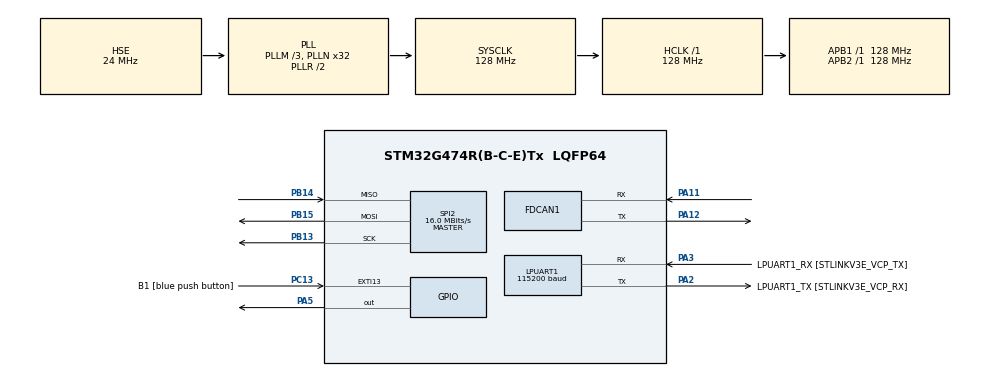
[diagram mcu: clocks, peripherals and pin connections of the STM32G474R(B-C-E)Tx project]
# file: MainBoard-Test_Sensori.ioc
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FATFS.DISKIO_CODE=0
FATFS._MAX_SS=4096
FDCAN1.ClockDivider=FDCAN_CLOCK_DIV2
FDCAN1.NominalPrescaler=5
FDCAN1.NominalTimeSeg1=13
LPUART1.BaudRate=115200
LPUART1.WordLength=UART_WORDLENGTH_8B
Mcu.Family=STM32G4
Mcu.Name=STM32G474R(B-C-E)Tx
Mcu.Package=LQFP64
NVIC.EXTI15_10_IRQn=true\:0\:0\:false\:true\:true\:2\:true\:true
NVIC.FDCAN1_IT0_IRQn=true\:0\:0\:false\:true\:true\:1\:true\:true
NVIC.PriorityGroup=NVIC_PRIORITYGROUP_4
NVIC.TIM1_TRG_COM_TIM17_IRQn=true\:0\:0\:false\:true\:true\:3\:true\:true
PA11.Mode=FDCANMaster
PA11.Signal=FDCAN1_RX
PA12.Mode=FDCANMaster
PA12.Signal=FDCAN1_TX
PA13.GPIO_Label=T_SWDIO
PA13.Mode=Serial_Wire
PA13.Signal=SYS_JTMS-SWDIO
PA14.GPIO_Label=T_SWCLK
PA14.Mode=Serial_Wire
PA14.Signal=SYS_JTCK-SWCLK
PA2.GPIO_Label=LPUART1_TX [STLINKV3E_VCP_RX]
PA2.Mode=Asynchronous
PA2.Signal=LPUART1_TX
PA3.GPIO_Label=LPUART1_RX [STLINKV3E_VCP_TX]
PA3.Mode=Asynchronous
PA3.Signal=LPUART1_RX
PA5.Signal=GPIO_Output
PB13.Mode=Full_Duplex_Master
PB13.Signal=SPI2_SCK
PB14.Mode=Full_Duplex_Master
PB14.Signal=SPI2_MISO
PB15.Mode=Full_Duplex_Master
PB15.Signal=SPI2_MOSI
PB3.GPIO_Label=T_SWO
PB3.Signal=SYS_JTDO-SWO
PC13.GPIO_Label=B1 [blue push button]
PC13.Signal=GPXTI13
PC14-OSC32_IN.Mode=LSE-External-Oscillator
PC14-OSC32_IN.Signal=RCC_OSC32_IN
PC15-OSC32_OUT.Mode=LSE-External-Oscillator
PC15-OSC32_OUT.Signal=RCC_OSC32_OUT
PF0-OSC_IN.Mode=HSE-External-Oscillator
PF0-OSC_IN.Signal=RCC_OSC_IN
PF1-OSC_OUT.Mode=HSE-External-Oscillator
PF1-OSC_OUT.Signal=RCC_OSC_OUT
ProjectManager.HeapSize=0x200
ProjectManager.StackSize=0x400
ProjectManager.TargetToolchain=STM32CubeIDE
RCC.ADC12Freq_Value=128000000
RCC.ADC345Freq_Value=128000000
RCC.AHBFreq_Value=128000000
RCC.APB1Freq_Value=128000000
RCC.APB1TimFreq_Value=128000000
RCC.APB2Freq_Value=128000000
RCC.APB2TimFreq_Value=128000000
RCC.CortexFreq_Value=128000000
RCC.EXTERNAL_CLOCK_VALUE=12288000
RCC.HCLKFreq_Value=128000000
RCC.HSE_VALUE=24000000
RCC.HSI48_VALUE=48000000
RCC.HSI_VALUE=16000000
RCC.PLLM=RCC_PLLM_DIV3
RCC.PLLN=32
RCC.PLLQ=RCC_PLLQ_DIV6
RCC.PLLSourceVirtual=RCC_PLLSOURCE_HSE
RCC.RTCClockSelection=RCC_RTCCLKSOURCE_LSE
RCC.SYSCLKFreq_VALUE=128000000
RCC.SYSCLKSource=RCC_SYSCLKSOURCE_PLLCLK
RCC.USBFreq_Value=42666666.666666664
RCC.VCOOutputFreq_Value=256000000
SPI2.BaudRatePrescaler=SPI_BAUDRATEPRESCALER_8
SPI2.CLKPhase=SPI_PHASE_2EDGE
SPI2.CLKPolarity=SPI_POLARITY_HIGH
SPI2.CalculateBaudRate=16.0 MBits/s
SPI2.DataSize=SPI_DATASIZE_8BIT
SPI2.Direction=SPI_DIRECTION_2LINES
SPI2.Mode=SPI_MODE_MASTER
SPI2.VirtualType=VM_MASTER
TIM17.AutoReloadPreload=TIM_AUTORELOAD_PRELOAD_ENABLE
TIM17.PeriodNoDither=25
TIM17.Prescaler=12799
VP_FATFS_VS_Generic.Mode=User_defined
VP_RTC_VS_RTC_Activate.Mode=RTC_Enabled
VP_RTC_VS_RTC_Calendar.Mode=RTC_Calendar
VP_SYS_VS_DBSignals.Mode=DisableDeadBatterySignals
VP_TIM17_VS_ClockSourceINT.Mode=Enable_Timer
board=NUCLEO-G474RE

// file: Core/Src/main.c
/* USER CODE BEGIN Header */
/**
  ******************************************************************************
  * @file           : main.c
  * @brief          : Main program body
  ******************************************************************************
  * @attention
  *
  * <h2><center>&copy; Copyright (c) 2020 STMicroelectronics.
  * All rights reserved.</center></h2>
  *
  * This software component is licensed by ST under BSD 3-Clause license,
  * the "License"; You may not use this file except in compliance with the
  * License. You may obtain a copy of the License at:
  *                        opensource.org/licenses/BSD-3-Clause
  *
  ******************************************************************************
  */
/* USER CODE END Header */

#include "main.h"
#include "app_fatfs.h"

/* USER CODE BEGIN Includes */
#include "Sigma2_Def.h"
#define N 64
/* USER CODE END Includes */

/* USER CODE BEGIN PTD */
typedef union{
	uint8_t		Data8u[8];
	uint16_t	Data16u[4];
	int16_t		Data16[4];
}data_typedef;
/* USER CODE END PTD */

FDCAN_HandleTypeDef hfdcan1;

UART_HandleTypeDef hlpuart1;

RTC_HandleTypeDef hrtc;

SPI_HandleTypeDef hspi2;

TIM_HandleTypeDef htim17;

/* USER CODE BEGIN PV */

FRESULT SD_Write();
const char* getfield(char* , int32_t);
FRESULT leggi();
int32_t ProcessStatus = 0;
uint8_t ubKeyNumber = 0x0;
FDCAN_RxHeaderTypeDef RxHeader;
uint8_t RxData[8];
data_typedef rxData;
char buffer[100];
FDCAN_TxHeaderTypeDef TxHeader;
uint8_t TxData[8];
uint32_t id;
uint8_t DataSpi[8];
uint8_t readBuff[64];
uint8_t br;
int32_t curr;
int32_t copp;
uint32_t indice =0;
uint32_t time;

uint8_t flag = 0;
uint8_t Time[3];
uint8_t Date[3];
RTC_TimeTypeDef stimeststuctureget;
RTC_DateTypeDef Data;

struct{
	int16_t Temp_0;
	int16_t Temp_1;
	int16_t Temp_2;
	int16_t Temp_3;
	int16_t Temp_4;
	int16_t Temp_5;
	int16_t Temp_6;
	int16_t Temp_7;
	int16_t Temp_8;
	int16_t Temp_9;
}Temp;
struct{
	int16_t Acc_x;
	int16_t Acc_y;
	int16_t Acc_z;
	int16_t Gir_x;
	int16_t Gir_y;
	int16_t T_a;
	int16_t T_g;
	int16_t T_b;
	uint32_t Pres;
	uint16_t Hum;
	uint16_t Responce_Time_millis;
	uint32_t Timer;
	uint8_t ID;
}Dati;
uint32_t ID = 0x00;
FIL readFile,writeFile;

extern FIL USERFile;
extern FATFS USERFatFs;
extern char USERPath[4];
SD_CardInfo_t CardInfo;

/* USER CODE END PV */

void SystemClock_Config(void);
static void MX_GPIO_Init(void);
static void MX_LPUART1_UART_Init(void);
static void MX_SPI2_Init(void);
static void MX_FDCAN1_Init(void);
static void MX_RTC_Init(void);
static void MX_TIM17_Init(void);
static void MX_NVIC_Init(void);
/* USER CODE BEGIN PFP */
void Success_Handler(void);
void readSigmaData(void);
/* USER CODE END PFP */

int main(void)
{

  /* MCU Configuration--------------------------------------------------------*/

  /* Reset of all peripherals, Initializes the Flash interface and the Systick. */
  HAL_Init();

  /* Configure the system clock */
  SystemClock_Config();

  /* USER CODE BEGIN SysInit */

  /* Initialize the micro SD Card */
  if(MY_SD_Init(0) != BSP_ERROR_NONE){
	  Error_Handler();
  }
  /* USER CODE END SysInit */

  /* Initialize all configured peripherals */
  MX_GPIO_Init();
  MX_LPUART1_UART_Init();
  MX_SPI2_Init();
  if (MX_FATFS_Init() != APP_OK) {
    Error_Handler();
  }
  MX_FDCAN1_Init();
  MX_RTC_Init();
  MX_TIM17_Init();

  /* Initialize interrupts */
  MX_NVIC_Init();
  /* USER CODE BEGIN 2 */
  TxHeader.Identifier = 0x0;
  TxHeader.IdType = FDCAN_EXTENDED_ID;
  TxHeader.TxFrameType = FDCAN_DATA_FRAME;
  TxHeader.DataLength = FDCAN_DLC_BYTES_8;
  TxHeader.ErrorStateIndicator = FDCAN_ESI_ACTIVE;
  TxHeader.BitRateSwitch = FDCAN_BRS_OFF;
  TxHeader.FDFormat = FDCAN_CLASSIC_CAN;
  TxHeader.TxEventFifoControl = FDCAN_NO_TX_EVENTS;
  TxHeader.MessageMarker = 0;
  TxData[0] = ubKeyNumber++;
  TxData[1] = 0xAD;
  TxData[2] = 0xDE;
  TxData[3] = 0xAD;
  TxData[4] = 0xBE;
  TxData[5] = 0xEF;
  TxData[6] = 0xFA;
  TxData[7] = 0xCE;

  uint8_t workBuffer[_MAX_SS];

  /* File  object for USER */
  //char USERPath[4];   /* USER logical drive path */
  FRESULT res; /* FatFs function common result code */
  uint8_t path[] = "DATA_LOG.TXT";

  if(MY_SD_GetCardState(0) == BSP_ERROR_NONE){
	  MY_SD_GetCardInfo(0, &CardInfo);
	  if(HAL_GPIO_ReadPin(B1_GPIO_Port,B1_Pin)==GPIO_PIN_SET){
		  HAL_GPIO_WritePin(GPIOA, GPIO_PIN_5, GPIO_PIN_SET);
		  res = f_mkfs(USERPath, FM_FAT32, 2048, workBuffer, sizeof(workBuffer));
		  if (res != FR_OK){
			  Error_Handler();
		  }
		  HAL_GPIO_WritePin(GPIOA, GPIO_PIN_5, GPIO_PIN_RESET);
		  HAL_Delay(2000);
	  }
  }
  res = f_mount(&USERFatFs, USERPath, 1);
  res = f_open(&USERFile, &path, FA_CREATE_ALWAYS);
  res = f_close(&USERFile);
  res = f_open(&USERFile, &path, FA_OPEN_APPEND | FA_WRITE);

  if (HAL_FDCAN_Start(&hfdcan1) != HAL_OK){
	  /* Start Error */
	  Error_Handler();
  }

  if ( HAL_FDCAN_ActivateNotification(&hfdcan1, FDCAN_IT_RX_FIFO0_NEW_MESSAGE, 0) != HAL_OK){
	  /* Notification Error */
	  Error_Handler();
  }

  MX_NVIC_Init();
  HAL_TIM_Base_Start_IT(&htim17);

  /* USER CODE END 2 */

  /* Infinite loop */
  while (1){

  }
}

void SystemClock_Config(void)
{
  RCC_OscInitTypeDef RCC_OscInitStruct = {0};
  RCC_ClkInitTypeDef RCC_ClkInitStruct = {0};
  RCC_PeriphCLKInitTypeDef PeriphClkInit = {0};

  /** Configure the main internal regulator output voltage
  */
  HAL_PWREx_ControlVoltageScaling(PWR_REGULATOR_VOLTAGE_SCALE1);
  /** Configure LSE Drive Capability
  */
  HAL_PWR_EnableBkUpAccess();
  __HAL_RCC_LSEDRIVE_CONFIG(RCC_LSEDRIVE_LOW);
  /** Initializes the CPU, AHB and APB busses clocks
  */
  RCC_OscInitStruct.OscillatorType = RCC_OSCILLATORTYPE_HSE|RCC_OSCILLATORTYPE_LSE;
  RCC_OscInitStruct.HSEState = RCC_HSE_ON;
  RCC_OscInitStruct.LSEState = RCC_LSE_ON;
  RCC_OscInitStruct.PLL.PLLState = RCC_PLL_ON;
  RCC_OscInitStruct.PLL.PLLSource = RCC_PLLSOURCE_HSE;
  RCC_OscInitStruct.PLL.PLLM = RCC_PLLM_DIV3;
  RCC_OscInitStruct.PLL.PLLN = 32;
  RCC_OscInitStruct.PLL.PLLP = RCC_PLLP_DIV2;
  RCC_OscInitStruct.PLL.PLLQ = RCC_PLLQ_DIV6;
  RCC_OscInitStruct.PLL.PLLR = RCC_PLLR_DIV2;
  if (HAL_RCC_OscConfig(&RCC_OscInitStruct) != HAL_OK)
  {
    Error_Handler();
  }
  /** Initializes the CPU, AHB and APB busses clocks
  */
  RCC_ClkInitStruct.ClockType = RCC_CLOCKTYPE_HCLK|RCC_CLOCKTYPE_SYSCLK
                              |RCC_CLOCKTYPE_PCLK1|RCC_CLOCKTYPE_PCLK2;
  RCC_ClkInitStruct.SYSCLKSource = RCC_SYSCLKSOURCE_PLLCLK;
  RCC_ClkInitStruct.AHBCLKDivider = RCC_SYSCLK_DIV1;
  RCC_ClkInitStruct.APB1CLKDivider = RCC_HCLK_DIV1;
  RCC_ClkInitStruct.APB2CLKDivider = RCC_HCLK_DIV1;

  if (HAL_RCC_ClockConfig(&RCC_ClkInitStruct, FLASH_LATENCY_6) != HAL_OK)
  {
    Error_Handler();
  }
  /** Initializes the peripherals clocks
  */
  PeriphClkInit.PeriphClockSelection = RCC_PERIPHCLK_RTC|RCC_PERIPHCLK_LPUART1
                              |RCC_PERIPHCLK_FDCAN;
  PeriphClkInit.Lpuart1ClockSelection = RCC_LPUART1CLKSOURCE_PCLK1;
  PeriphClkInit.FdcanClockSelection = RCC_FDCANCLKSOURCE_PCLK1;
  PeriphClkInit.RTCClockSelection = RCC_RTCCLKSOURCE_LSE;
  if (HAL_RCCEx_PeriphCLKConfig(&PeriphClkInit) != HAL_OK)
  {
    Error_Handler();
  }
}

/**
  * @brief NVIC Configuration.
  * @retval None
  */
static void MX_NVIC_Init(void)
{
  /* FDCAN1_IT0_IRQn interrupt configuration */
  HAL_NVIC_SetPriority(FDCAN1_IT0_IRQn, 0, 0);
  HAL_NVIC_EnableIRQ(FDCAN1_IT0_IRQn);
  /* EXTI15_10_IRQn interrupt configuration */
  HAL_NVIC_SetPriority(EXTI15_10_IRQn, 0, 0);
  HAL_NVIC_EnableIRQ(EXTI15_10_IRQn);
  /* TIM1_TRG_COM_TIM17_IRQn interrupt configuration */
  HAL_NVIC_SetPriority(TIM1_TRG_COM_TIM17_IRQn, 0, 0);
  HAL_NVIC_EnableIRQ(TIM1_TRG_COM_TIM17_IRQn);
}

static void MX_FDCAN1_Init(void)
{

  hfdcan1.Instance = FDCAN1;
  hfdcan1.Init.ClockDivider = FDCAN_CLOCK_DIV2;
  hfdcan1.Init.FrameFormat = FDCAN_FRAME_CLASSIC;
  hfdcan1.Init.Mode = FDCAN_MODE_NORMAL;
  hfdcan1.Init.AutoRetransmission = DISABLE;
  hfdcan1.Init.TransmitPause = DISABLE;
  hfdcan1.Init.ProtocolException = DISABLE;
  hfdcan1.Init.NominalPrescaler = 5;
  hfdcan1.Init.NominalSyncJumpWidth = 1;
  hfdcan1.Init.NominalTimeSeg1 = 13;
  hfdcan1.Init.NominalTimeSeg2 = 2;
  hfdcan1.Init.DataPrescaler = 1;
  hfdcan1.Init.DataSyncJumpWidth = 1;
  hfdcan1.Init.DataTimeSeg1 = 1;
  hfdcan1.Init.DataTimeSeg2 = 1;
  hfdcan1.Init.StdFiltersNbr = 0;
  hfdcan1.Init.ExtFiltersNbr = 0;
  hfdcan1.Init.TxFifoQueueMode = FDCAN_TX_FIFO_OPERATION;
  if (HAL_FDCAN_Init(&hfdcan1) != HAL_OK)
  {
    Error_Handler();
  }

}

static void MX_LPUART1_UART_Init(void)
{

  hlpuart1.Instance = LPUART1;
  hlpuart1.Init.BaudRate = 115200;
  hlpuart1.Init.WordLength = UART_WORDLENGTH_8B;
  hlpuart1.Init.StopBits = UART_STOPBITS_1;
  hlpuart1.Init.Parity = UART_PARITY_NONE;
  hlpuart1.Init.Mode = UART_MODE_TX_RX;
  hlpuart1.Init.HwFlowCtl = UART_HWCONTROL_NONE;
  hlpuart1.Init.OneBitSampling = UART_ONE_BIT_SAMPLE_DISABLE;
  hlpuart1.AdvancedInit.AdvFeatureInit = UART_ADVFEATURE_NO_INIT;
  if (HAL_UART_Init(&hlpuart1) != HAL_OK)
  {
    Error_Handler();
  }
  if (HAL_UARTEx_SetTxFifoThreshold(&hlpuart1, UART_TXFIFO_THRESHOLD_1_8) != HAL_OK)
  {
    Error_Handler();
  }
  if (HAL_UARTEx_SetRxFifoThreshold(&hlpuart1, UART_RXFIFO_THRESHOLD_1_8) != HAL_OK)
  {
    Error_Handler();
  }
  if (HAL_UARTEx_DisableFifoMode(&hlpuart1) != HAL_OK)
  {
    Error_Handler();
  }

}

static void MX_RTC_Init(void)
{

  RTC_TimeTypeDef sTime = {0};
  RTC_DateTypeDef sDate = {0};

  /** Initialize RTC Only
  */
  hrtc.Instance = RTC;
  hrtc.Init.HourFormat = RTC_HOURFORMAT_24;
  hrtc.Init.AsynchPrediv = 127;
  hrtc.Init.SynchPrediv = 255;
  hrtc.Init.OutPut = RTC_OUTPUT_DISABLE;
  hrtc.Init.OutPutRemap = RTC_OUTPUT_REMAP_NONE;
  hrtc.Init.OutPutPullUp = RTC_OUTPUT_PULLUP_NONE;
  if (HAL_RTC_Init(&hrtc) != HAL_OK)
  {
    Error_Handler();
  }

  /** Initialize RTC and set the Time and Date
  */
  sTime.Hours = 0x0;
  sTime.Minutes = 0x0;
  sTime.Seconds = 0x0;
  sTime.SubSeconds = 0x0;
  sTime.DayLightSaving = RTC_DAYLIGHTSAVING_NONE;
  sTime.StoreOperation = RTC_STOREOPERATION_RESET;
  if (HAL_RTC_SetTime(&hrtc, &sTime, RTC_FORMAT_BCD) != HAL_OK)
  {
    Error_Handler();
  }
  sDate.WeekDay = RTC_WEEKDAY_MONDAY;
  sDate.Month = RTC_MONTH_JANUARY;
  sDate.Date = 0x1;
  sDate.Year = 0x0;

  if (HAL_RTC_SetDate(&hrtc, &sDate, RTC_FORMAT_BCD) != HAL_OK)
  {
    Error_Handler();
  }

}

static void MX_SPI2_Init(void)
{

  /* SPI2 parameter configuration*/
  hspi2.Instance = SPI2;
  hspi2.Init.Mode = SPI_MODE_MASTER;
  hspi2.Init.Direction = SPI_DIRECTION_2LINES;
  hspi2.Init.DataSize = SPI_DATASIZE_8BIT;
  hspi2.Init.CLKPolarity = SPI_POLARITY_HIGH;
  hspi2.Init.CLKPhase = SPI_PHASE_2EDGE;
  hspi2.Init.NSS = SPI_NSS_SOFT;
  hspi2.Init.BaudRatePrescaler = SPI_BAUDRATEPRESCALER_8;
  hspi2.Init.FirstBit = SPI_FIRSTBIT_MSB;
  hspi2.Init.TIMode = SPI_TIMODE_DISABLE;
  hspi2.Init.CRCCalculation = SPI_CRCCALCULATION_DISABLE;
  hspi2.Init.CRCPolynomial = 7;
  hspi2.Init.CRCLength = SPI_CRC_LENGTH_DATASIZE;
  hspi2.Init.NSSPMode = SPI_NSS_PULSE_DISABLE;
  if (HAL_SPI_Init(&hspi2) != HAL_OK)
  {
    Error_Handler();
  }

}

static void MX_TIM17_Init(void)
{

  htim17.Instance = TIM17;
  htim17.Init.Prescaler = 12799;
  htim17.Init.CounterMode = TIM_COUNTERMODE_UP;
  htim17.Init.Period = 25;
  htim17.Init.ClockDivision = TIM_CLOCKDIVISION_DIV1;
  htim17.Init.RepetitionCounter = 0;
  htim17.Init.AutoReloadPreload = TIM_AUTORELOAD_PRELOAD_ENABLE;
  if (HAL_TIM_Base_Init(&htim17) != HAL_OK)
  {
    Error_Handler();
  }

}

static void MX_GPIO_Init(void)
{
  GPIO_InitTypeDef GPIO_InitStruct = {0};

  /* GPIO Ports Clock Enable */
  __HAL_RCC_GPIOC_CLK_ENABLE();
  __HAL_RCC_GPIOF_CLK_ENABLE();
  __HAL_RCC_GPIOA_CLK_ENABLE();
  __HAL_RCC_GPIOB_CLK_ENABLE();

  /*Configure GPIO pin Output Level */
  HAL_GPIO_WritePin(GPIOA, GPIO_PIN_5, GPIO_PIN_RESET);

  /*Configure GPIO pin : B1_Pin */
  GPIO_InitStruct.Pin = B1_Pin;
  GPIO_InitStruct.Mode = GPIO_MODE_IT_RISING;
  GPIO_InitStruct.Pull = GPIO_NOPULL;
  HAL_GPIO_Init(B1_GPIO_Port, &GPIO_InitStruct);

  /*Configure GPIO pin : PA5 */
  GPIO_InitStruct.Pin = GPIO_PIN_5;
  GPIO_InitStruct.Mode = GPIO_MODE_OUTPUT_PP;
  GPIO_InitStruct.Pull = GPIO_NOPULL;
  GPIO_InitStruct.Speed = GPIO_SPEED_FREQ_LOW;
  HAL_GPIO_Init(GPIOA, &GPIO_InitStruct);

}

/* USER CODE BEGIN 4 */

void HAL_FDCAN_RxFifo0Callback(FDCAN_HandleTypeDef*hcan, uint32_t RxFifo0ITs){
	if(HAL_FDCAN_GetRxMessage(&hfdcan1,FDCAN_RX_FIFO0,&RxHeader,rxData.Data8u) == HAL_OK){
		if((RxHeader.Identifier>>5) == 0x00){
			Dati.ID = (uint8_t)RxHeader.Identifier;
			Dati.Timer = rxData.Data8u[0] | rxData.Data8u[1]<<8 | rxData.Data8u[2]<<16 | rxData.Data8u[3]<<24;
			Dati.Gir_x = rxData.Data8u[4] | rxData.Data8u[5]<<8;
			Dati.Gir_y = rxData.Data8u[6] | rxData.Data8u[7]<<8;
		}
		else if((RxHeader.Identifier>>5) == 0x01){
			Dati.ID = (uint8_t)RxHeader.Identifier & 0x1F;
			Dati.Acc_x = rxData.Data8u[0] | rxData.Data8u[1]<<8;
			Dati.Acc_y = rxData.Data8u[2] | rxData.Data8u[3]<<8;
			Dati.Acc_z = rxData.Data8u[4] | rxData.Data8u[5]<<8;
			Dati.T_b = rxData.Data8u[6] | rxData.Data8u[7]<<8;
		}
		else{
			Dati.ID = (uint8_t)RxHeader.Identifier & 0x1F;
			Dati.Pres = rxData.Data8u[0] | rxData.Data8u[1]<<8 | rxData.Data8u[2]<<16 | rxData.Data8u[3]<<24;
		}
	}
}

void HAL_TIM_PeriodElapsedCallback(TIM_HandleTypeDef *htim){
    if (htim->Instance==TIM17){ //check if the interrupt comes from TIM17
    	FRESULT res;
    	if(HAL_GPIO_ReadPin(B1_GPIO_Port,B1_Pin)==GPIO_PIN_SET){
    		HAL_TIM_Base_Stop_IT(&htim17);
    		HAL_FDCAN_DeactivateNotification(&hfdcan1, FDCAN_IT_RX_FIFO0_NEW_MESSAGE);
    		res = f_close(&USERFile);
    		HAL_GPIO_WritePin(GPIOA, GPIO_PIN_5, GPIO_PIN_SET);
    	}
    	else{
    		//res = SD_Write();
    		f_printf(&USERFile,"%d,%d,%d,%d,%d,%d,%d,%d\n",Dati.Timer,Dati.ID,Dati.Acc_x,Dati.Acc_y,Dati.Acc_z,Dati.Gir_x,Dati.Gir_y,Dati.T_b);
    	}
    }
}

/*const char* getfield(char* line, int32_t num)
{
    const char* tok;
    for (tok = strtok(line, ",");
            tok && *tok;
            tok = strtok(NULL, "\n"))
    {
        if (!--num)
            return tok;
    }
    return NULL;
}*/

/*
FRESULT leggi(void){
    char buf[N];
    FRESULT res;
	FIL readFile;
	uint8_t path[] = "COPPIA.TXT";
	uint8_t contatore=0;
	res = f_open(&readFile, &path, FA_READ);
	while(f_gets((char*)buf, sizeof(buf), &readFile))
		{
		HAL_Delay(1);
		char* tmp = strdup(buf);
		time=(uint32_t)atoi(getfield(tmp, 1));
		free(tmp);
		tmp = strdup(buf);
		copp=(int32_t)atoi(getfield(tmp, 2));
		free(tmp);
		for(int i=0;i<N;i++){
			buf[i]=0;
		}
		}
	res=f_close(&readFile);

	return res;
}*/

FRESULT SD_Write(){
	FRESULT res;
	TCHAR path[] = "DATA_LOG.TXT";

	res = f_open(&writeFile, &path, FA_WRITE | FA_OPEN_ALWAYS);
	if(res==FR_OK) {
		//f_lseek(&writeFile,indice);
		//indice = indice + f_printf(&writeFile,"%d,%d,%d,%d,%d,%d,%d,%d\n",Dati.Timer,Dati.ID,Dati.Acc_x,Dati.Acc_y,Dati.Acc_z,Dati.Gir_x,Dati.Gir_y,Dati.T_b);
		//f_printf(&writeFile,"%d",Dati.Timer);
		//f_printf(&writeFile,"%d\n",Dati.ID);
	}
	res = f_close(&writeFile);

	return res;
}

void Success_Handler(void)
{
  //printf("** Success. ** \n\r");
  while(1)
  {
  }
}
/* USER CODE END 4 */

void Error_Handler(void)
{
  /* USER CODE BEGIN Error_Handler_Debug */
  /* User can add his own implementation to report the HAL error return state */
	//printf("** Error. ** \n\r");
	while(1)
	{
	}
  /* USER CODE END Error_Handler_Debug */
}

/************************ (C) COPYRIGHT STMicroelectronics *****END OF FILE****/
